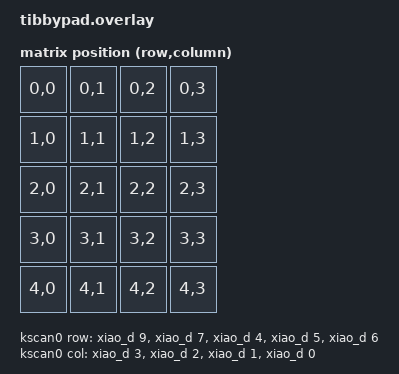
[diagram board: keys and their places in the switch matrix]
#include <dt-bindings/zmk/matrix_transform.h>
#include <dt-bindings/zmk/ext_power.h>
#include <dt-bindings/led/led.h>

/ {
    chosen {
        zmk,physical-layout = &physical_layout0;
        zmk,underglow = &led_strip;
    };

    key_physical_attrs: key_physical_attrs {
        compatible = "zmk,key-physical-attrs";
        #binding-cells = <2>;
        #key-cells = <7>;
    };

    kscan0: kscan0 {
        compatible = "zmk,kscan-gpio-matrix";
        diode-direction = "col2row";
        wakeup-source;
        col-gpios
            = <&xiao_d 3 (GPIO_ACTIVE_HIGH)>
            , <&xiao_d 2 (GPIO_ACTIVE_HIGH)>
            , <&xiao_d 1 (GPIO_ACTIVE_HIGH)>
            , <&xiao_d 0 (GPIO_ACTIVE_HIGH)>
            ;
        row-gpios
            = <&xiao_d 9 (GPIO_ACTIVE_HIGH | GPIO_PULL_DOWN)>
            , <&xiao_d 7 (GPIO_ACTIVE_HIGH | GPIO_PULL_DOWN)>
            , <&xiao_d 4 (GPIO_ACTIVE_HIGH | GPIO_PULL_DOWN)>
            , <&xiao_d 5 (GPIO_ACTIVE_HIGH | GPIO_PULL_DOWN)>
            , <&xiao_d 6 (GPIO_ACTIVE_HIGH | GPIO_PULL_DOWN)>
            ;
    };

    default_transform: keymap_transform0 {
        compatible = "zmk,matrix-transform";
        columns = <4>;
        rows = <5>;
        map = <
            RC(0,0) RC(0,1) RC(0,2) RC(0,3)
            RC(1,0) RC(1,1) RC(1,2) RC(1,3)
            RC(2,0) RC(2,1) RC(2,2) RC(2,3)
            RC(3,0) RC(3,1) RC(3,2) RC(3,3)
            RC(4,0) RC(4,1) RC(4,2) RC(4,3)
        >;
    };

    physical_layout0: physical_layout_0 {
        compatible = "zmk,physical-layout";
        display-name = "Default Layout";
        kscan = <&kscan0>;
        transform = <&default_transform>;
        keys
            = <&key_physical_attrs 100 100    0    0    0   0   0>
            , <&key_physical_attrs 100 100  100    0    0   0   0>
            , <&key_physical_attrs 100 100  200    0    0   0   0>
            , <&key_physical_attrs 100 100  300    0    0   0   0>
            , <&key_physical_attrs 100 100    0  100    0   0   0>
            , <&key_physical_attrs 100 100  100  100    0   0   0>
            , <&key_physical_attrs 100 100  200  100    0   0   0>
            , <&key_physical_attrs 100 100  300  100    0   0   0>
            , <&key_physical_attrs 100 100    0  200    0   0   0>
            , <&key_physical_attrs 100 100  100  200    0   0   0>
            , <&key_physical_attrs 100 100  200  200    0   0   0>
            , <&key_physical_attrs 100 100  300  200    0   0   0>
            , <&key_physical_attrs 100 100    0  300    0   0   0>
            , <&key_physical_attrs 100 100  100  300    0   0   0>
            , <&key_physical_attrs 100 100  200  300    0   0   0>
            , <&key_physical_attrs 100 100  300  300    0   0   0>
            , <&key_physical_attrs 100 100    0  400    0   0   0>
            , <&key_physical_attrs 100 100  100  400    0   0   0>
            , <&key_physical_attrs 100 100  200  400    0   0   0>
            , <&key_physical_attrs 100 100  300  400    0   0   0>
            ;
    };

    EXT_POWER {
        compatible = "zmk,ext-power-generic";
        control-gpios = <&xiao_d 8 GPIO_ACTIVE_HIGH>;
        init-delay-ms = <100>;
    };
};

&pinctrl {
    spi3_default: spi3_default {
        group1 {
            psels = <NRF_PSEL(SPIM_MOSI, 1, 15)>;
        };
    };
    spi3_sleep: spi3_sleep {
        group1 {
            psels = <NRF_PSEL(SPIM_MOSI, 1, 15)>;
            low-power-enable;
        };
    };
};

&spi3 {
    compatible = "nordic,nrf-spim";
    status = "okay";
    pinctrl-0 = <&spi3_default>;
    pinctrl-1 = <&spi3_sleep>;
    pinctrl-names = "default", "sleep";

    led_strip: ws2812@0 {
        compatible = "worldsemi,ws2812-spi";
        reg = <0>;
        spi-max-frequency = <4000000>;
        chain-length = <20>;
        spi-one-frame = <0x70>;
        spi-zero-frame = <0x40>;
        color-mapping = <LED_COLOR_ID_GREEN LED_COLOR_ID_RED LED_COLOR_ID_BLUE>;
    };
};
